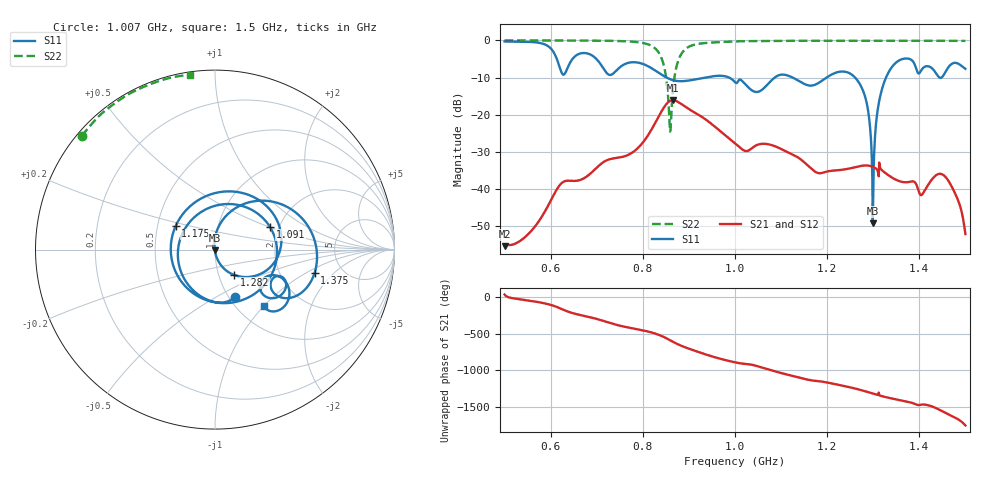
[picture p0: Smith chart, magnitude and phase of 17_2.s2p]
! TOUCHSTONE file generated by CST MICROWAVE STUDIO
! Date and time: Mon Nov 30 09:08:00 2020
! Project name: Scenario_1_Planar_Body_Tissue_Out_of_Line_v2.cst
! Parameters = {dy1=-69.2; L_HA=400; Ltissue=700; MT=2.54; Rad_Dielectric=30; Rad_Lower=7.3; Rad_Upper=30; Wtissue=700; a_HA=580; a_WG=246; b_HA=500; b_WG=121; c_HA=0; c_WG=187; d_feed=85; dx1=346; h_feed=15; h_lower=18; h_upper=40; hfat=3; hgap=25; hmuscle=50; hskin=1.5}
! Header version: 2018
! Port assignment regex: !\s*Touchstone port\s*([0-9]+)\s*=\s*(CST MWS port|CST DS port)\s*([0-9]+|Zmin|Zmax)\s*\(\"(.*)\"\)(\s*mode\s*([0-9]+))?.*
! Touchstone port assignment:
! Touchstone port 1 = CST MWS port 1 ("")
! Touchstone port 2 = CST MWS port 2 ("")
# GHz S DB R 50
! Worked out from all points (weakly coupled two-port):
!   1003 points, 500 MHz to 1.5 GHz, reference 50 ohm
!   highest |S21| = -16.06 dB at 865 MHz (marker M1); lowest = -55.4 dB at 500 MHz (marker M2)
!   lowest |S11| = -49.2 dB at 1.299 GHz (marker M3), VSWR 1.01, Z = 49.9 - j0.324 ohm
!   |S11| at or under -10 dB: 851.7 MHz to 934.9 MHz (83.18 MHz wide, 9.31 % of centre); 987.3 MHz to 1.086 GHz (98.75 MHz wide, 9.53 % of centre); 1.125 GHz to 1.199 GHz (73.38 MHz wide, 6.32 % of centre) (the widest 3 of 5)
!   |S22| runs from -24.5 to 0.0 dB; largest |S21 - S12| = 0.0089
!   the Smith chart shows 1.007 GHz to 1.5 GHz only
!   S11 on the Smith chart (normalised r, x): 1.007 GHz: 1.06, -0.61; 1.091 GHz: 1.79, +0.51; 1.175 GHz: 0.62, +0.17; 1.282 GHz: 1.19, -0.35; 1.375 GHz: 3.15, -1.20; 1.5 GHz: 1.32, -1.00
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0.5  -0.29 -121.8  -55.35 34.7  -55.35 34.7  -0.01 151.2
0.667  -3.43 156.9  -37.40 111.5  -37.40 111.5  -0.04 138.4
0.717  -8.02 22.6  -32.54 29.4  -32.54 29.4  -0.09 132.7
0.741  -8.29 -98.7  -31.66 -15.6  -31.66 -15.6  -0.14 129.1
0.769  -6.01 176.3  -30.74 -55.5  -30.74 -55.5  -0.27 123.4
0.834  -8.67 28.0  -20.55 -153.0  -20.55 -153.0  -3.19 85.8
0.865  -10.68 -59.5  -16.06 111.6  -16.06 111.6  -13.74 -131.0
0.884  -10.97 -121.5  -17.16 54.9  -17.16 54.9  -3.55 -174.2
0.935  -10.00 87.8  -21.14 -58.6  -21.14 -58.6  -0.70 152.5
1  -11.23 -58.0  -27.69 -169.3  -27.69 -169.3  -0.27 140.4
1.007  -10.92 -67.5  -28.45 -178.1  -28.45 -178.1  -0.24 139.5
1.043  -13.81 173.1  -28.44 148.1  -28.44 148.1  -0.18 135.2
1.091  -9.60 22.4  -28.68 60.4  -28.68 60.4  -0.12 130.5
1.167  -12.14 173.8  -34.65 -55.8  -34.65 -55.8  -0.10 124.2
1.175  -11.85 149.4  -35.39 -62.6  -35.39 -62.6  -0.10 123.6
1.236  -8.38 19.5  -34.74 -131.1  -34.74 -131.1  -0.08 119.0
1.282  -15.00 -52.7  -33.64 157.3  -33.64 157.3  -0.08 115.5
1.299  -49.25 -109.5  -33.99 125.3  -33.99 125.4  -0.09 114.2
1.334  -8.41 45.9  -36.36 66.3  -36.36 66.3  -0.09 111.5
1.375  -4.88 -13.0  -38.12 13.7  -38.13 13.7  -0.09 108.4
1.454  -9.07 -23.8  -36.38 -129.3  -36.38 -129.3  -0.11 101.9
1.5  -7.64 -48.8  -52.10 50.3  -52.10 50.3  -0.13 98.0
